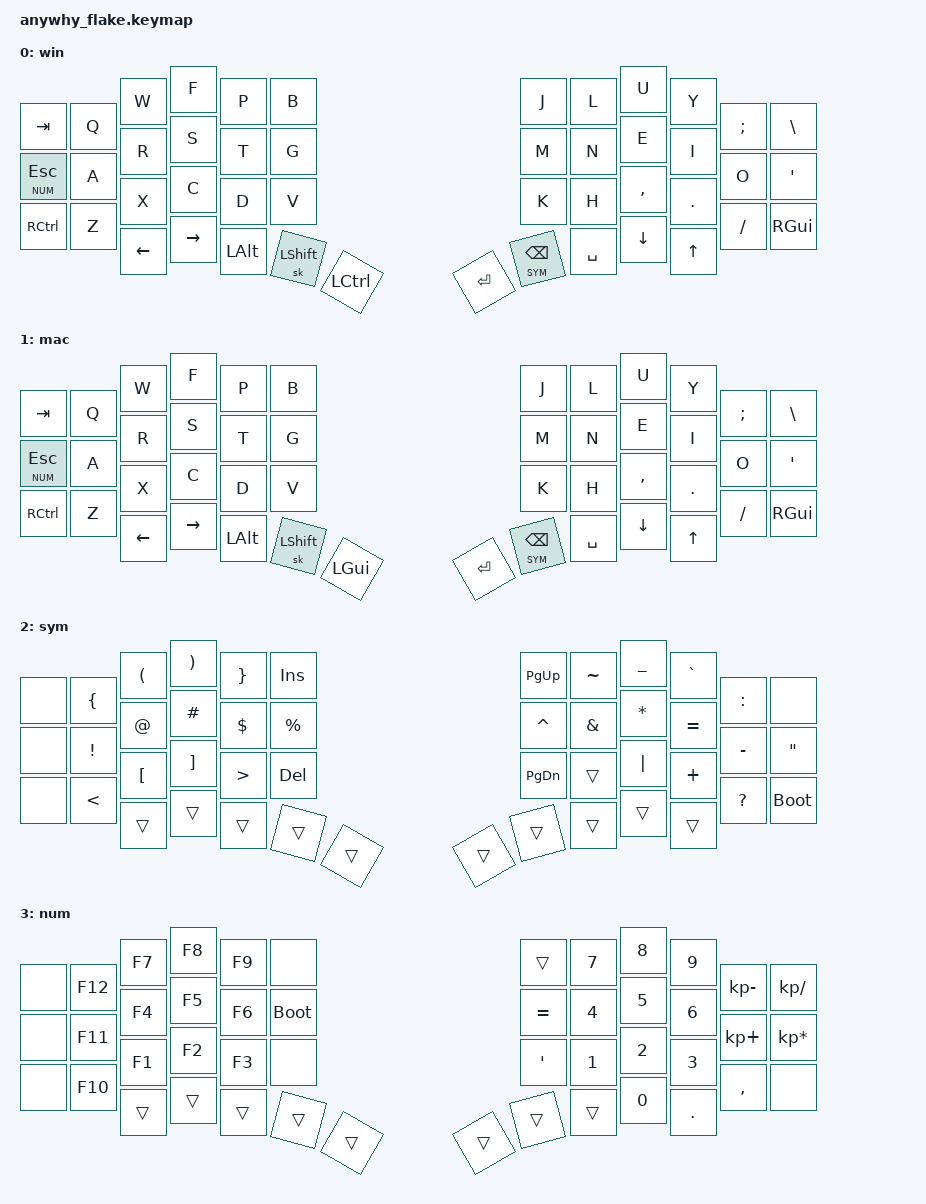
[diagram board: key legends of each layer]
#include <behaviors.dtsi>
#include <dt-bindings/zmk/bt.h>
#include <dt-bindings/zmk/keys.h>

#define WIN 0
#define MAC 1
#define SYM 2
#define NUM 3

// = < 0  1  2  3  4  5    6  7  8  9 10 11>
// , <12 13 14 15 16 17   18 19 20 21 22 23>
// , <24 25 26 27 28 29   30 31 32 33 34 35>
// , <   36 37 38 39 40   41 42 43 44 45   >

&lt {
    flavor = "hold-preferred";
    quick-tap-ms = <150>;
    tapping-term-ms = <140>;
};

/ {
    combos {
        compatible = "zmk,combos";

        bt_sel_0 {
            bindings = <&bt_win>;
            key-positions = <1 13>;
        };

        bt_sel_1 {
            bindings = <&bt_mac>;
            key-positions = <2 14>;
        };

        studio_unlock_combo {
            bindings = <&studio_unlock>;
            key-positions = <13 25>;
            layers = <0>;
        };

        del_word_win {
            bindings = <&kp LC(BSPC)>;
            key-positions = <42 43>;
            layers = <0>;
        };

        del_word_mac {
            bindings = <&kp LA(BSPC)>;
            key-positions = <42 43>;
            layers = <1>;
        };

        home {
            bindings = <&kp HOME>;
            key-positions = <4 16>;
        };

        end {
            bindings = <&kp END>;
            key-positions = <16 28>;
        };

        left_bootloader {
            bindings = <&bootloader>;
            key-positions = <5 17 29>;
        };

        right_bootloader {
            bindings = <&bootloader>;
            key-positions = <6 18 30>;
        };
    };

    macros {
        bt_win: bt_win {
            compatible = "zmk,behavior-macro";
            #binding-cells = <0>;
            bindings = <&bt0 &to 0>;
            label = "BT_WIN";
        };

        bt_mac: bt_mac {
            compatible = "zmk,behavior-macro";
            #binding-cells = <0>;
            bindings = <&bt1 &to 1>;
            label = "BT_MAC";
        };

        bt_clr_0: bt_clr_0 {
            compatible = "zmk,behavior-macro";
            #binding-cells = <0>;
            bindings = <&bt BT_SEL 0 &bt BT_CLR>;
            label = "BT_CLR_0";
        };

        bt_clr_1: bt_clr_1 {
            compatible = "zmk,behavior-macro";
            #binding-cells = <0>;
            bindings = <&bt BT_SEL 1 &bt BT_CLR>;
            label = "BT_CLR_1";
        };

        bt_clr_2: bt_clr_2 {
            compatible = "zmk,behavior-macro";
            #binding-cells = <0>;
            bindings = <&bt BT_SEL 2 &bt BT_CLR>;
            label = "BT_CLR_2";
        };

        bt_clr_3: bt_clr_3 {
            compatible = "zmk,behavior-macro";
            #binding-cells = <0>;
            bindings = <&bt BT_SEL 3 &bt BT_CLR>;
            label = "BT_CLR_3";
        };

        bt_clr_4: bt_clr_4 {
            compatible = "zmk,behavior-macro";
            #binding-cells = <0>;
            bindings = <&bt BT_SEL 4 &bt BT_CLR>;
            label = "BT_CLR_4";
        };
    };

    behaviors {
        bt0: bt0 {
            compatible = "zmk,behavior-mod-morph";
            label = "BT0";
            bindings = <&bt BT_SEL 0>, <&bt_clr_0>;

            #binding-cells = <0>;
            mods = <(MOD_LSFT|MOD_RSFT)>;
        };

        bt1: bt1 {
            compatible = "zmk,behavior-mod-morph";
            label = "BT1";
            bindings = <&bt BT_SEL 1>, <&bt_clr_1>;

            #binding-cells = <0>;
            mods = <(MOD_LSFT|MOD_RSFT)>;
        };
    };

    keymap {
        compatible = "zmk,keymap";

        win {
            bindings = <
&kp TAB     &kp Q   &kp W     &kp F     &kp P      &kp B                           &kp J      &kp L      &kp U      &kp Y     &kp SEMI   &kp BSLH
&lt NUM ESC &kp A   &kp R     &kp S     &kp T      &kp G                           &kp M      &kp N      &kp E      &kp I     &kp O      &kp APOS
&kp RCTL    &kp Z   &kp X     &kp C     &kp D      &kp V                           &kp K      &kp H      &kp COMMA  &kp DOT   &kp SLASH  &kp RGUI
                    &kp LEFT  &kp RIGHT &kp LALT   &sk LSHFT  &kp LCTRL  &kp ENTER &lt SYM BSPC &kp SPACE  &kp DOWN   &kp UP
            >;
        };

        mac {
            bindings = <
&kp TAB     &kp Q   &kp W     &kp F     &kp P      &kp B                           &kp J        &kp L      &kp U      &kp Y     &kp SEMI   &kp BSLH
&lt NUM ESC &kp A   &kp R     &kp S     &kp T      &kp G                           &kp M        &kp N      &kp E      &kp I     &kp O      &kp APOS
&kp RCTL    &kp Z   &kp X     &kp C     &kp D      &kp V                           &kp K        &kp H      &kp COMMA  &kp DOT   &kp SLASH  &kp RGUI
                    &kp LEFT  &kp RIGHT &kp LALT   &sk LSHFT  &kp LGUI  &kp ENTER  &lt SYM BSPC &kp SPACE  &kp DOWN   &kp UP
            >;
        };

        sym {
            bindings = <
&none  &kp LBRC  &kp LPAR  &kp RPAR  &kp RBRC  &kp INS                 &kp PG_UP   &kp TILDE  &kp UNDER  &kp GRAVE  &kp COLON  &none
&none  &kp EXCL  &kp AT    &kp HASH  &kp DLLR  &kp PRCNT               &kp CARET   &kp AMPS   &kp STAR   &kp EQUAL  &kp MINUS  &kp DQT
&none  &kp LT    &kp LBKT  &kp RBKT  &kp GT    &kp DEL                 &kp PG_DN   &trans     &kp PIPE   &kp PLUS   &kp QMARK  &bootloader
                 &trans    &trans    &trans    &trans  &trans  &trans  &trans      &trans     &trans       &trans
            >;
        };

        num {
            bindings = <
&none  &kp F12  &kp F7  &kp F8  &kp F9  &none                      &trans     &kp N7  &kp N8  &kp N9  &kp KP_MINUS  &kp KP_DIVIDE
&none  &kp F11  &kp F4  &kp F5  &kp F6  &bootloader                &kp EQUAL  &kp N4  &kp N5  &kp N6  &kp KP_PLUS   &kp KP_MULTIPLY
&none  &kp F10  &kp F1  &kp F2  &kp F3  &none                      &kp SQT    &kp N1  &kp N2  &kp N3  &kp COMMA     &none
                &trans  &trans  &trans  &trans     &trans  &trans  &trans     &trans  &kp N0  &kp DOT
            >;
        };
    };
};
